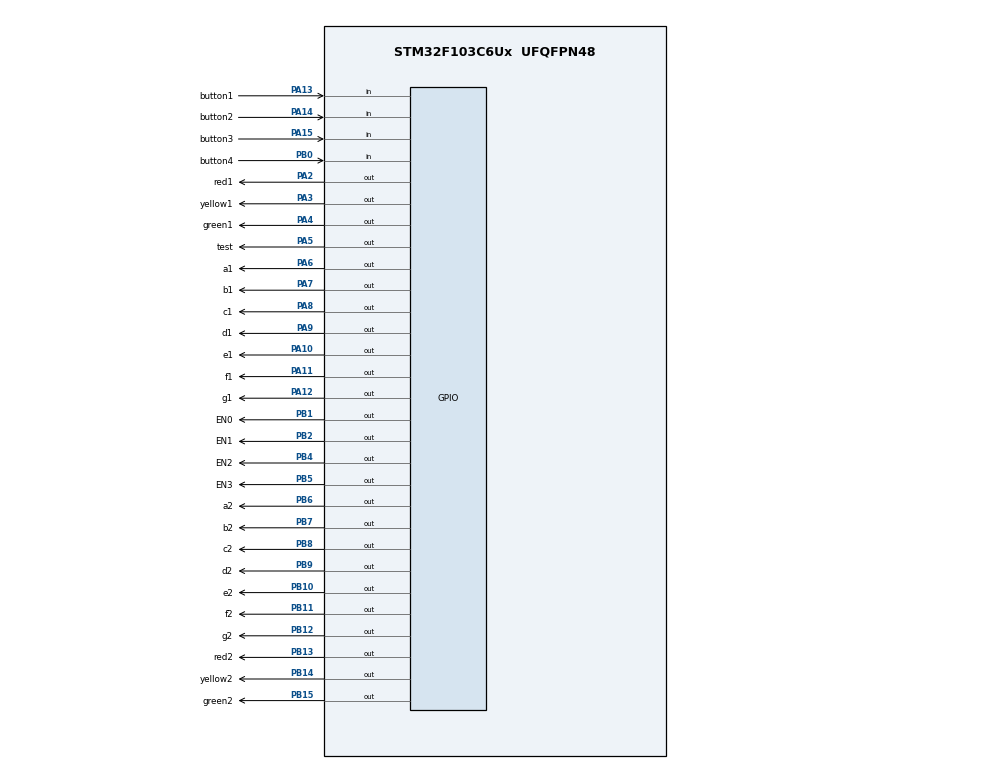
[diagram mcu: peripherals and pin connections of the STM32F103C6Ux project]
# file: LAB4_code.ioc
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Mcu.Family=STM32F1
Mcu.Name=STM32F103C6Ux
Mcu.Package=UFQFPN48
NVIC.PriorityGroup=NVIC_PRIORITYGROUP_4
NVIC.TIM2_IRQn=true\:0\:0\:false\:false\:true\:true\:true
PA10.GPIO_Label=e1
PA10.Signal=GPIO_Output
PA11.GPIO_Label=f1
PA11.Signal=GPIO_Output
PA12.GPIO_Label=g1
PA12.Signal=GPIO_Output
PA13.GPIO_Label=button1
PA13.GPIO_PuPd=GPIO_PULLUP
PA13.Signal=GPIO_Input
PA14.GPIO_Label=button2
PA14.GPIO_PuPd=GPIO_PULLUP
PA14.Signal=GPIO_Input
PA15.GPIO_Label=button3
PA15.GPIO_PuPd=GPIO_PULLUP
PA15.Signal=GPIO_Input
PA2.GPIO_Label=red1
PA2.Signal=GPIO_Output
PA3.GPIO_Label=yellow1
PA3.Signal=GPIO_Output
PA4.GPIO_Label=green1
PA4.Signal=GPIO_Output
PA5.GPIO_Label=test
PA5.Signal=GPIO_Output
PA6.GPIO_Label=a1
PA6.Signal=GPIO_Output
PA7.GPIO_Label=b1
PA7.Signal=GPIO_Output
PA8.GPIO_Label=c1
PA8.Signal=GPIO_Output
PA9.GPIO_Label=d1
PA9.Signal=GPIO_Output
PB0.GPIO_Label=button4
PB0.GPIO_PuPd=GPIO_PULLUP
PB0.Signal=GPIO_Input
PB1.GPIO_Label=EN0
PB1.Signal=GPIO_Output
PB10.GPIO_Label=e2
PB10.Signal=GPIO_Output
PB11.GPIO_Label=f2
PB11.Signal=GPIO_Output
PB12.GPIO_Label=g2
PB12.Signal=GPIO_Output
PB13.GPIO_Label=red2
PB13.Signal=GPIO_Output
PB14.GPIO_Label=yellow2
PB14.Signal=GPIO_Output
PB15.GPIO_Label=green2
PB15.Signal=GPIO_Output
PB2.GPIO_Label=EN1
PB2.Signal=GPIO_Output
PB4.GPIO_Label=EN2
PB4.Signal=GPIO_Output
PB5.GPIO_Label=EN3
PB5.Signal=GPIO_Output
PB6.GPIO_Label=a2
PB6.Signal=GPIO_Output
PB7.GPIO_Label=b2
PB7.Signal=GPIO_Output
PB8.GPIO_Label=c2
PB8.Signal=GPIO_Output
PB9.GPIO_Label=d2
PB9.Signal=GPIO_Output
ProjectManager.HeapSize=0x200
ProjectManager.StackSize=0x400
ProjectManager.TargetToolchain=STM32CubeIDE
RCC.APB1Freq_Value=8000000
RCC.APB2Freq_Value=8000000
TIM2.Period=9
TIM2.Prescaler=7999
VP_SYS_VS_ND.Mode=No_Debug
VP_TIM2_VS_ClockSourceINT.Mode=Internal
board=custom

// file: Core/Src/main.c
/* USER CODE BEGIN Header */
/**
  ******************************************************************************
  * @file           : main.c
  * @brief          : Main program body
  ******************************************************************************
  * @attention
  *
  * <h2><center>&copy; Copyright (c) 2024 STMicroelectronics.
  * All rights reserved.</center></h2>
  *
  * This software component is licensed by ST under BSD 3-Clause license,
  * the "License"; You may not use this file except in compliance with the
  * License. You may obtain a copy of the License at:
  *                        opensource.org/licenses/BSD-3-Clause
  *
  ******************************************************************************
  */
/* USER CODE END Header */
#include "main.h"

/* USER CODE BEGIN Includes */
#include "software_timer.h"
#include "button.h"
#include "7SEG.h"
#include "fsm_auto.h"
#include "fsm_manual.h"
#include "scheduler.h"
/* USER CODE END Includes */

TIM_HandleTypeDef htim2;

void SystemClock_Config(void);
static void MX_GPIO_Init(void);
static void MX_TIM2_Init(void);
/* USER CODE BEGIN PFP */
void testLED(void);
/* USER CODE END PFP */

int main(void)
{

  /* MCU Configuration--------------------------------------------------------*/

  /* Reset of all peripherals, Initializes the Flash interface and the Systick. */
  HAL_Init();

  /* Configure the system clock */
  SystemClock_Config();

  /* Initialize all configured peripherals */
  MX_GPIO_Init();
  MX_TIM2_Init();
  /* USER CODE BEGIN 2 */
  SCH_Init();
  HAL_TIM_Base_Start_IT(&htim2);
  /* USER CODE END 2 */

  /* Infinite loop */
  /* USER CODE BEGIN WHILE */
  SCH_Add_Task(getButton1, 0, 10);
  SCH_Add_Task(getButton2, 0, 10);
  SCH_Add_Task(getButton3, 0, 10);
  SCH_Add_Task(getButton4, 0, 10);

  SCH_Add_Task(testLED, 0, 1000);

  SCH_Add_Task(fsm_manual, 0, 500);
  SCH_Add_Task(fsm_automatic, 0, 1000);
  SCH_Add_Task(display7SEGFinal, 0, 500);

  while (1)
  {
	  SCH_Dispatch_Tasks();

    /* USER CODE END WHILE */

  }
}

void SystemClock_Config(void)
{
  RCC_OscInitTypeDef RCC_OscInitStruct = {0};
  RCC_ClkInitTypeDef RCC_ClkInitStruct = {0};

  /** Initializes the RCC Oscillators according to the specified parameters
  * in the RCC_OscInitTypeDef structure.
  */
  RCC_OscInitStruct.OscillatorType = RCC_OSCILLATORTYPE_HSI;
  RCC_OscInitStruct.HSIState = RCC_HSI_ON;
  RCC_OscInitStruct.HSICalibrationValue = RCC_HSICALIBRATION_DEFAULT;
  RCC_OscInitStruct.PLL.PLLState = RCC_PLL_NONE;
  if (HAL_RCC_OscConfig(&RCC_OscInitStruct) != HAL_OK)
  {
    Error_Handler();
  }
  /** Initializes the CPU, AHB and APB buses clocks
  */
  RCC_ClkInitStruct.ClockType = RCC_CLOCKTYPE_HCLK|RCC_CLOCKTYPE_SYSCLK
                              |RCC_CLOCKTYPE_PCLK1|RCC_CLOCKTYPE_PCLK2;
  RCC_ClkInitStruct.SYSCLKSource = RCC_SYSCLKSOURCE_HSI;
  RCC_ClkInitStruct.AHBCLKDivider = RCC_SYSCLK_DIV1;
  RCC_ClkInitStruct.APB1CLKDivider = RCC_HCLK_DIV1;
  RCC_ClkInitStruct.APB2CLKDivider = RCC_HCLK_DIV1;

  if (HAL_RCC_ClockConfig(&RCC_ClkInitStruct, FLASH_LATENCY_0) != HAL_OK)
  {
    Error_Handler();
  }
}

static void MX_TIM2_Init(void)
{

  TIM_ClockConfigTypeDef sClockSourceConfig = {0};
  TIM_MasterConfigTypeDef sMasterConfig = {0};

  htim2.Instance = TIM2;
  htim2.Init.Prescaler = 7999;
  htim2.Init.CounterMode = TIM_COUNTERMODE_UP;
  htim2.Init.Period = 9;
  htim2.Init.ClockDivision = TIM_CLOCKDIVISION_DIV1;
  htim2.Init.AutoReloadPreload = TIM_AUTORELOAD_PRELOAD_DISABLE;
  if (HAL_TIM_Base_Init(&htim2) != HAL_OK)
  {
    Error_Handler();
  }
  sClockSourceConfig.ClockSource = TIM_CLOCKSOURCE_INTERNAL;
  if (HAL_TIM_ConfigClockSource(&htim2, &sClockSourceConfig) != HAL_OK)
  {
    Error_Handler();
  }
  sMasterConfig.MasterOutputTrigger = TIM_TRGO_RESET;
  sMasterConfig.MasterSlaveMode = TIM_MASTERSLAVEMODE_DISABLE;
  if (HAL_TIMEx_MasterConfigSynchronization(&htim2, &sMasterConfig) != HAL_OK)
  {
    Error_Handler();
  }

}

static void MX_GPIO_Init(void)
{
  GPIO_InitTypeDef GPIO_InitStruct = {0};

  /* GPIO Ports Clock Enable */
  __HAL_RCC_GPIOA_CLK_ENABLE();
  __HAL_RCC_GPIOB_CLK_ENABLE();

  /*Configure GPIO pin Output Level */
  HAL_GPIO_WritePin(GPIOA, red1_Pin|yellow1_Pin|green1_Pin|test_Pin
                          |a1_Pin|b1_Pin|c1_Pin|d1_Pin
                          |e1_Pin|f1_Pin|g1_Pin, GPIO_PIN_RESET);

  /*Configure GPIO pin Output Level */
  HAL_GPIO_WritePin(GPIOB, EN0_Pin|EN1_Pin|e2_Pin|f2_Pin
                          |g2_Pin|red2_Pin|yellow2_Pin|green2_Pin
                          |EN2_Pin|EN3_Pin|a2_Pin|b2_Pin
                          |c2_Pin|d2_Pin, GPIO_PIN_RESET);

  /*Configure GPIO pins : red1_Pin yellow1_Pin green1_Pin test_Pin
                           a1_Pin b1_Pin c1_Pin d1_Pin
                           e1_Pin f1_Pin g1_Pin */
  GPIO_InitStruct.Pin = red1_Pin|yellow1_Pin|green1_Pin|test_Pin
                          |a1_Pin|b1_Pin|c1_Pin|d1_Pin
                          |e1_Pin|f1_Pin|g1_Pin;
  GPIO_InitStruct.Mode = GPIO_MODE_OUTPUT_PP;
  GPIO_InitStruct.Pull = GPIO_NOPULL;
  GPIO_InitStruct.Speed = GPIO_SPEED_FREQ_LOW;
  HAL_GPIO_Init(GPIOA, &GPIO_InitStruct);

  /*Configure GPIO pin : button4_Pin */
  GPIO_InitStruct.Pin = button4_Pin;
  GPIO_InitStruct.Mode = GPIO_MODE_INPUT;
  GPIO_InitStruct.Pull = GPIO_PULLUP;
  HAL_GPIO_Init(button4_GPIO_Port, &GPIO_InitStruct);

  /*Configure GPIO pins : EN0_Pin EN1_Pin e2_Pin f2_Pin
                           g2_Pin red2_Pin yellow2_Pin green2_Pin
                           EN2_Pin EN3_Pin a2_Pin b2_Pin
                           c2_Pin d2_Pin */
  GPIO_InitStruct.Pin = EN0_Pin|EN1_Pin|e2_Pin|f2_Pin
                          |g2_Pin|red2_Pin|yellow2_Pin|green2_Pin
                          |EN2_Pin|EN3_Pin|a2_Pin|b2_Pin
                          |c2_Pin|d2_Pin;
  GPIO_InitStruct.Mode = GPIO_MODE_OUTPUT_PP;
  GPIO_InitStruct.Pull = GPIO_NOPULL;
  GPIO_InitStruct.Speed = GPIO_SPEED_FREQ_LOW;
  HAL_GPIO_Init(GPIOB, &GPIO_InitStruct);

  /*Configure GPIO pins : button1_Pin button2_Pin button3_Pin */
  GPIO_InitStruct.Pin = button1_Pin|button2_Pin|button3_Pin;
  GPIO_InitStruct.Mode = GPIO_MODE_INPUT;
  GPIO_InitStruct.Pull = GPIO_PULLUP;
  HAL_GPIO_Init(GPIOA, &GPIO_InitStruct);

}

/* USER CODE BEGIN 4 */
void HAL_TIM_PeriodElapsedCallback(TIM_HandleTypeDef *htim)
{
	SCH_Update();
}

void testLED(void)
{
	HAL_GPIO_TogglePin(test_GPIO_Port, test_Pin);
}
/* USER CODE END 4 */

void Error_Handler(void)
{
  __disable_irq();
  while (1)
  {
  }
}

/************************ (C) COPYRIGHT STMicroelectronics *****END OF FILE****/
